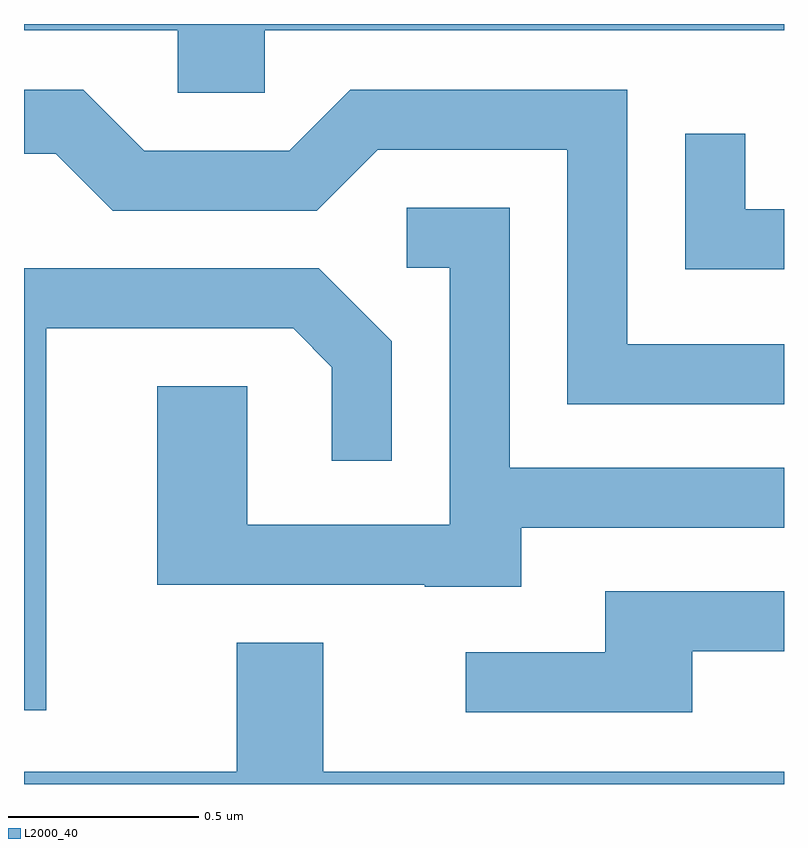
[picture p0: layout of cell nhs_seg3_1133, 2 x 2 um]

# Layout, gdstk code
import gdstk
lib = gdstk.Library(unit=1e-6, precision=1e-09)
def P(c, l, *ps):  # polygons
    for p in ps: c.add(gdstk.Polygon(p, *l))
L2000_40 = (2000, 40)

nhs_seg3_1133 = lib.new_cell('nhs_seg3_1133')
P(nhs_seg3_1133, L2000_40, [(194.244,1154.876),(195.611,1154.876),(195.611,1154.892),(193.611,1154.892),(193.611,1154.876),(194.016,1154.876),(194.016,1154.711),(194.244,1154.711)],
  [(195.611,1154.049),(195.199,1154.049),(195.199,1154.719),(194.469,1154.719),(194.309,1154.559),(193.927,1154.559),(193.767,1154.719),(193.611,1154.719),(193.611,1154.551),(193.694,1154.551),(193.844,1154.401),(194.382,1154.401),(194.542,1154.561),(195.041,1154.561),(195.041,1153.891),(195.611,1153.891)],
  [(195.611,1154.404),(195.509,1154.404),(195.509,1154.603),(195.351,1154.603),(195.351,1154.246),(195.611,1154.246)],
  [(194.919,1153.566),(195.611,1153.566),(195.611,1153.724),(194.889,1153.724),(194.889,1154.409),(194.618,1154.409),(194.618,1154.251),(194.731,1154.251),(194.731,1153.574),(194.199,1153.574),(194.199,1153.939),(193.961,1153.939),(193.961,1153.416),(194.665,1153.416),(194.665,1153.411),(194.919,1153.411)],
  [(193.669,1154.091),(194.319,1154.091),(194.421,1153.989),(194.421,1153.743),(194.579,1153.743),(194.579,1154.057),(194.387,1154.249),(193.611,1154.249),(193.611,1153.086),(193.669,1153.086)],
  [(195.369,1153.241),(195.611,1153.241),(195.611,1153.399),(195.141,1153.399),(195.141,1153.239),(194.773,1153.239),(194.773,1153.081),(195.369,1153.081)],
  [(195.611,1152.924),(194.399,1152.924),(194.399,1153.264),(194.171,1153.264),(194.171,1152.924),(193.611,1152.924),(193.611,1152.892),(195.611,1152.892)])

lib.write_gds('nhs_seg3_1133.gds')
